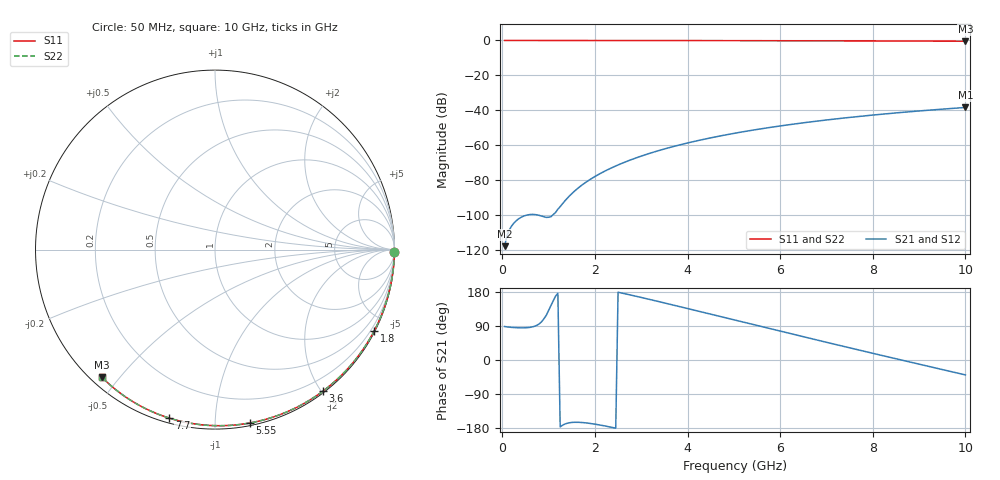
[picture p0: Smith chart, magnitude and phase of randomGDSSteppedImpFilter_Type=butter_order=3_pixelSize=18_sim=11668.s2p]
! freq	dB(S11)	phase(S11)	dB(S12)	phase(S12)
!  dB(S21)	phase(S21)	dB(S22)	phase(S22)
!S-par simulation data
#  GHz  S  DB  R 50
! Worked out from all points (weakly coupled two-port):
!   200 points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, 50 MHz to 10 GHz, reference 50 ohm
!   highest |S21| = -38.45 dB at 10 GHz (marker M1); lowest = -118.0 dB at 50 MHz (marker M2)
!   lowest |S11| = -0.4 dB at 10 GHz (marker M3), VSWR 39.12, Z = 1.54 - j22.5 ohm
!   |S11| at or under -10 dB: nowhere
!   |S22| runs from -0.4 to 0.0 dB; largest |S21 - S12| = 0
!   S11 on the Smith chart (normalised r, x): 50 MHz: open; 1.8 GHz: 0.04, -4.17; 3.6 GHz: 0.02, -2.02; 5.55 GHz: 0.02, -1.22; 7.7 GHz: 0.02, -0.77; 10 GHz: 0.03, -0.45
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0.05  -0.00 -0.8  -118.02 88.4  -118.02 88.4  -0.00 -0.8
0.9  -0.02 -13.6  -101.20 109.0  -101.20 109.0  -0.02 -13.6
1.75  -0.03 -26.2  -82.38 -165.3  -82.38 -165.3  -0.03 -26.2
1.8  -0.03 -27.0  -81.44 -165.9  -81.44 -165.9  -0.03 -27.0
1.85  -0.04 -27.7  -80.54 -166.6  -80.54 -166.6  -0.04 -27.7
1.9  -0.04 -28.4  -79.68 -167.4  -79.68 -167.4  -0.04 -28.4
2.05  -0.04 -30.6  -77.29 -170.3  -77.29 -170.3  -0.04 -30.6
2.25  -0.04 -33.5  -74.47 -174.9  -74.47 -174.9  -0.04 -33.5
2.45  -0.05 -36.4  -71.99 -179.9  -71.99 -179.9  -0.05 -36.4
2.65  -0.05 -39.3  -69.76 174.8  -69.76 174.8  -0.05 -39.3
3  -0.06 -44.3  -66.34 165.1  -66.34 165.1  -0.06 -44.3
3.4  -0.07 -49.9  -63.00 153.5  -63.00 153.5  -0.07 -49.9
3.6  -0.07 -52.7  -61.51 147.7  -61.51 147.7  -0.07 -52.7
4.3  -0.09 -62.3  -57.00 126.9  -57.00 126.9  -0.09 -62.3
5.05  -0.11 -72.2  -53.07 104.5  -53.07 104.5  -0.11 -72.2
5.55  -0.13 -78.7  -50.84 89.6  -50.84 89.6  -0.13 -78.7
6.1  -0.15 -85.7  -48.67 73.2  -48.67 73.2  -0.15 -85.7
6.7  -0.18 -93.1  -46.57 55.5  -46.57 55.5  -0.18 -93.1
7.7  -0.24 -105.1  -43.59 26.3  -43.59 26.3  -0.24 -105.1
8.35  -0.29 -112.7  -41.93 7.6  -41.93 7.6  -0.29 -112.7
9.15  -0.36 -121.9  -40.12 -15.2  -40.12 -15.2  -0.36 -121.9
10  -0.44 -131.5  -38.45 -39.3  -38.45 -39.3  -0.44 -131.5
